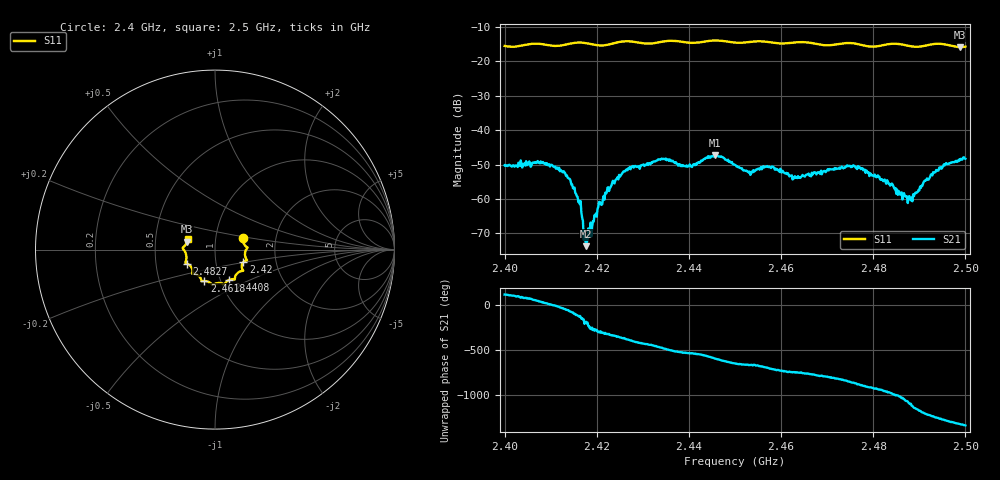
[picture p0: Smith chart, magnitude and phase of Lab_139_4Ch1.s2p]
# Hz S RI R 50
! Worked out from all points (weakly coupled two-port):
!   601 points, 2.4 GHz to 2.5 GHz, reference 50 ohm
!   highest |S21| = -47.29 dB at 2.4457 GHz (marker M1); lowest = -73.8 dB at 2.4177 GHz (marker M2)
!   lowest |S11| = -15.8 dB at 2.4988 GHz (marker M3), VSWR 1.39, Z = 36.4 + j3.34 ohm
!   |S11| at or under -10 dB: start of sweep to end of sweep
!   S12 and S22 are empty: the file has one direction only
!   S11 on the Smith chart (normalised r, x): 2.4 GHz: 1.36, +0.17; 2.42 GHz: 1.36, -0.19; 2.4408 GHz: 1.10, -0.39; 2.4618 GHz: 0.84, -0.30; 2.4827 GHz: 0.72, -0.12; 2.5 GHz: 0.73, +0.09
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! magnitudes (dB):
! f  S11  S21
! 2.4 GHz  -15.5  -50.2
! 2.4075 GHz  -14.9  -49.5
! 2.4118 GHz  -15.4  -50.9
! 2.4147 GHz  -14.7  -55.8
! 2.4167 GHz  -14.5  -64.2
! 2.4177 GHz  -14.7  -73.8
! 2.42 GHz  -15.3  -65.1
! 2.4223 GHz  -15.2  -56.7
! 2.426 GHz  -14.2  -52.0
! 2.4333 GHz  -14.5  -48.5
! 2.4408 GHz  -14.6  -50.1
! 2.4457 GHz  -13.9  -47.3
! 2.45 GHz  -14.5  -50.1
! 2.4618 GHz  -14.7  -53.5
! 2.4667 GHz  -14.7  -52.4
! 2.4755 GHz  -14.7  -50.6
! 2.4827 GHz  -15.1  -55.1
! 2.4833 GHz  -15.0  -55.6
! 2.488 GHz  -15.5  -59.7
! 2.4935 GHz  -14.9  -52.3
! 2.4988 GHz  -15.8  -48.8
! 2.5 GHz  -15.7  -48.3
